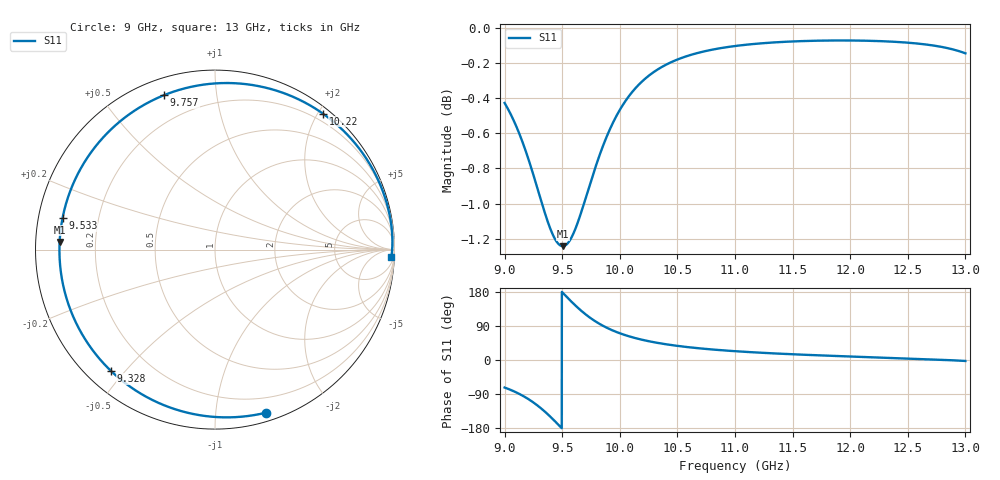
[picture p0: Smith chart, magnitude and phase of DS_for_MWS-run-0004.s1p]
! TOUCHSTONE file generated by CST DESIGN STUDIO
! Date and time: Tue Feb  4 16:05:11 2025
! Project name: C:\Work\MatlabApps\UnitCellOptimizationMatlab\CST\unitcell.cst
! Tree item: Tasks\Sweep1\SPara1\S-Parameters
! Header version: 2024
! Port assignment regex: !\s*Touchstone port\s*([0-9]+)\s*=\s*(CST MWS port|CST DES external port|CST DES block port)\s*(.+)\s* \(\"(.*)\"\)(\s*mode\s*([0-9]+))?.*
! Touchstone port assignment:
! Touchstone port 1 = CST DES external port 1 ("")
# GHz S MA R 50
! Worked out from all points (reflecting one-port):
!   4001 points, 9 GHz to 13 GHz, reference 50 ohm
!   lowest |S11| = -1.2 dB at 9.505 GHz (marker M1), VSWR 14.00, Z = 3.57 + j1.22 ohm
!   phase of S11 starts at -73 deg and turns -290 deg over the sweep
!   S11 on the Smith chart (normalised r, x): 9 GHz: 0.07, -1.36; 9.328 GHz: 0.07, -0.46; 9.533 GHz: 0.07, +0.10; 9.757 GHz: 0.07, +0.72; 10.22 GHz: 0.09, +2.07; 13 GHz: 15, -40
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9  0.952 -72.6
9.087  0.9398 -83.5
9.189  0.9213 -99.9
9.261  0.9056 -114.5
9.328  0.8904 -130.6
9.374  0.8808 -143.0
9.422  0.8727 -157.0
9.462  0.8684 -169.3
9.5  0.8667 178.8
9.505  0.8667 177.2
9.533  0.8674 168.4
9.586  0.8723 152.2
9.648  0.8827 134.5
9.701  0.8938 121.0
9.757  0.906 108.3
9.806  0.9163 98.6
9.861  0.9268 89.1
10  0.9476 70.5
10.104  0.9585 60.4
10.221  0.9673 51.5
10.35  0.9741 44.0
10.5  0.9795 37.3
10.722  0.9845 29.9
11  0.9882 23.2
11.5  0.9911 15.1
12  0.9918 9.3
12.5  0.9903 4.0
13  0.9835 -2.5
